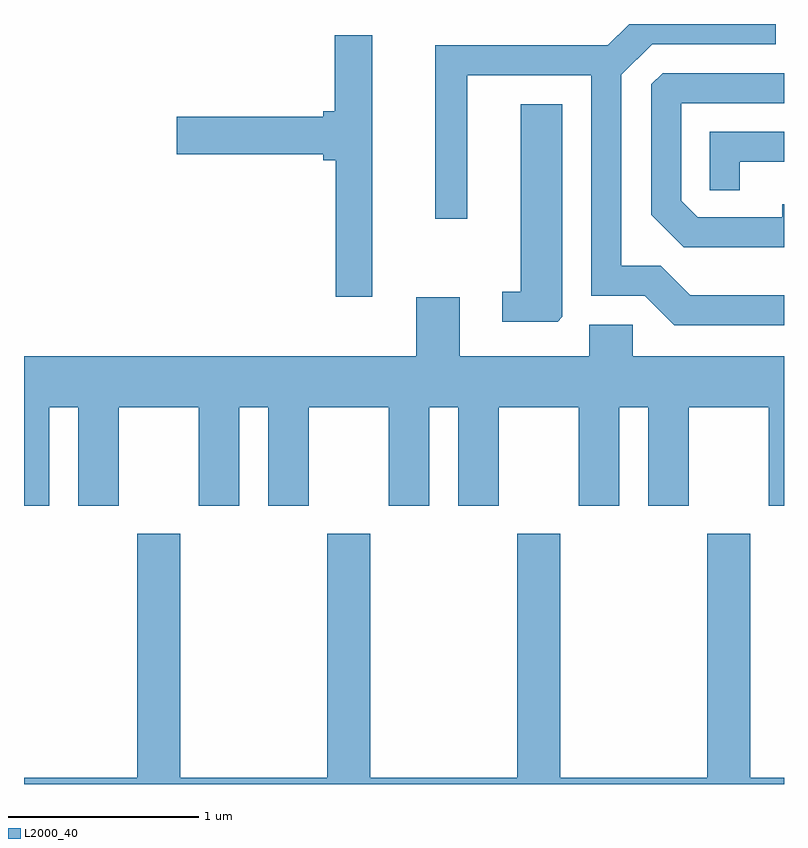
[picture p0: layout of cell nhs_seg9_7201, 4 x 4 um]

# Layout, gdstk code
import gdstk
lib = gdstk.Library(unit=1e-6, precision=1e-09)
def P(c, l, *ps):  # polygons
    for p in ps: c.add(gdstk.Polygon(p, *l))
L2000_40 = (2000, 40)

nhs_seg9_7201 = lib.new_cell('nhs_seg9_7201')
P(nhs_seg9_7201, L2000_40, [(401.611,2059.004),(401.117,2059.004),(400.962,2059.159),(400.754,2059.159),(400.754,2060.164),(400.917,2060.326),(401.568,2060.326),(401.568,2060.432),(400.797,2060.432),(400.684,2060.319),(399.776,2060.319),(399.776,2059.408),(399.944,2059.408),(399.944,2060.161),(400.596,2060.161),(400.596,2059.001),(400.879,2059.001),(401.034,2058.846),(401.611,2058.846)],
  [(399.444,2060.374),(399.246,2060.374),(399.246,2059.974),(399.186,2059.974),(399.186,2059.944),(398.416,2059.944),(398.416,2059.746),(399.186,2059.746),(399.186,2059.716),(399.251,2059.716),(399.251,2058.996),(399.444,2058.996)],
  [(401.611,2059.484),(401.601,2059.484),(401.601,2059.414),(401.157,2059.414),(401.069,2059.501),(401.069,2060.016),(401.611,2060.016),(401.611,2060.174),(400.972,2060.174),(400.911,2060.114),(400.911,2059.429),(401.084,2059.256),(401.611,2059.256)],
  [(400.444,2058.892),(400.444,2060.009),(400.226,2060.009),(400.226,2059.024),(400.128,2059.024),(400.128,2058.866),(400.419,2058.866)],
  [(401.379,2059.706),(401.611,2059.706),(401.611,2059.864),(401.221,2059.864),(401.221,2059.558),(401.379,2059.558)],
  [(397.744,2058.416),(397.896,2058.416),(397.896,2057.896),(398.109,2057.896),(398.109,2058.416),(398.531,2058.416),(398.531,2057.896),(398.744,2057.896),(398.744,2058.416),(398.896,2058.416),(398.896,2057.896),(399.109,2057.896),(399.109,2058.416),(399.531,2058.416),(399.531,2057.896),(399.744,2057.896),(399.744,2058.416),(399.896,2058.416),(399.896,2057.896),(400.109,2057.896),(400.109,2058.416),(400.531,2058.416),(400.531,2057.896),(400.744,2057.896),(400.744,2058.416),(400.896,2058.416),(400.896,2057.896),(401.109,2057.896),(401.109,2058.416),(401.531,2058.416),(401.531,2057.896),(401.611,2057.896),(401.611,2058.684),(400.814,2058.684),(400.814,2058.849),(400.586,2058.849),(400.586,2058.684),(399.904,2058.684),(399.904,2058.994),(399.676,2058.994),(399.676,2058.684),(397.611,2058.684),(397.611,2057.896),(397.744,2057.896)],
  [(401.611,2056.464),(401.434,2056.464),(401.434,2057.749),(401.206,2057.749),(401.206,2056.464),(400.434,2056.464),(400.434,2057.749),(400.206,2057.749),(400.206,2056.464),(399.434,2056.464),(399.434,2057.749),(399.206,2057.749),(399.206,2056.464),(398.434,2056.464),(398.434,2057.749),(398.206,2057.749),(398.206,2056.464),(397.611,2056.464),(397.611,2056.432),(401.611,2056.432)])

lib.write_gds('nhs_seg9_7201.gds')
